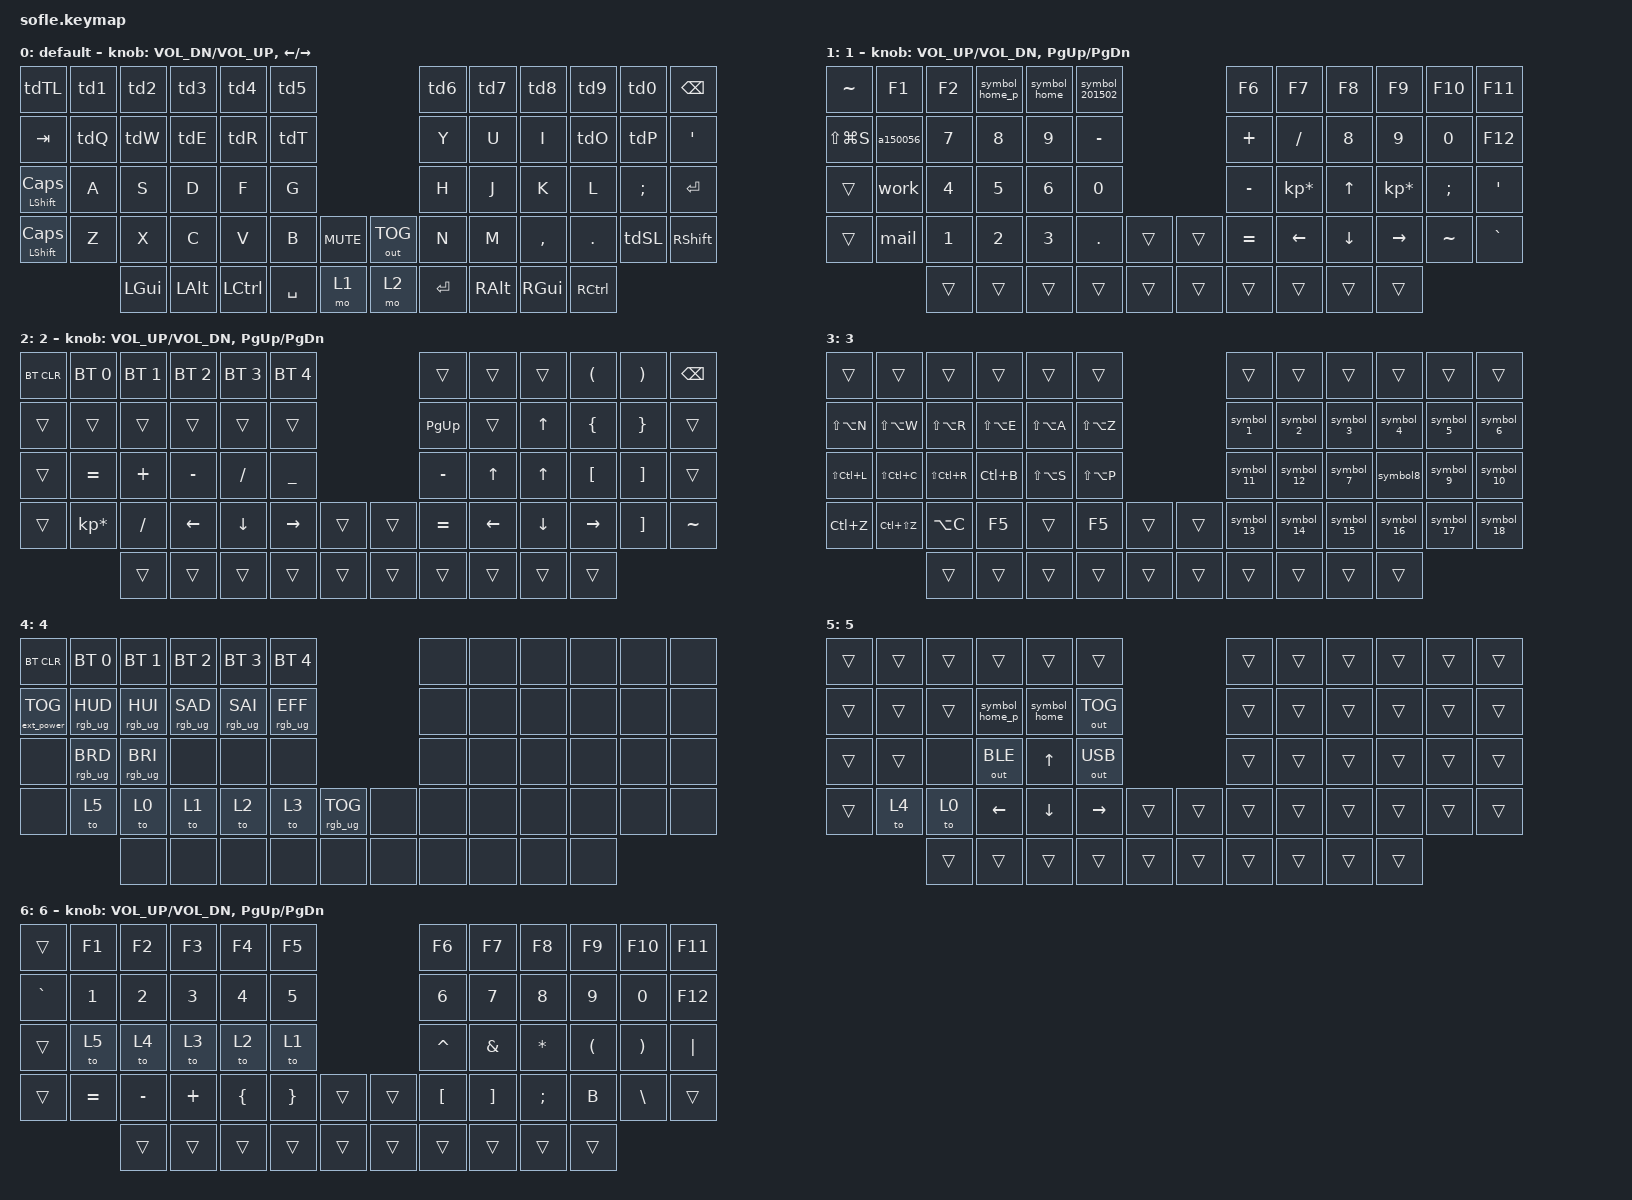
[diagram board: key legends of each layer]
/*
 * Copyright (c) 2020 The ZMK Contributors
 *
 * SPDX-License-Identifier: MIT
 */

#include <behaviors.dtsi>
#include <dt-bindings/zmk/bt.h>
#include <dt-bindings/zmk/ext_power.h>
#include <dt-bindings/zmk/keys.h>
#include <dt-bindings/zmk/outputs.h>
#include <dt-bindings/zmk/rgb.h>

#define BASE 0
#define LOWER 1
#define RAISE 2
#define ADJUST 3

/ {
    // Activate ADJUST layer by pressing raise and lower

    conditional_layers { compatible = "zmk,conditional-layers"; };

    behaviors {
        tdQ: tap_dance_Q {
            compatible = "zmk,behavior-tap-dance";
            #binding-cells = <0>;
            tapping-term-ms = <180>;
            bindings = <&kp Q>, <&kp LS(Q)>;
        };

        tdW: tap_dance_W {
            compatible = "zmk,behavior-tap-dance";
            #binding-cells = <0>;
            tapping-term-ms = <180>;
            bindings = <&kp W>, <&kp LS(W)>;
        };

        tdE: tap_dance_E {
            compatible = "zmk,behavior-tap-dance";
            #binding-cells = <0>;
            tapping-term-ms = <180>;
            bindings = <&kp E>, <&kp LS(E)>;
        };

        tdR: tap_dance_R {
            compatible = "zmk,behavior-tap-dance";
            #binding-cells = <0>;
            tapping-term-ms = <180>;
            bindings = <&kp R>, <&kp LS(R)>;
        };

        tdT: tap_dance_T {
            compatible = "zmk,behavior-tap-dance";
            #binding-cells = <0>;
            tapping-term-ms = <180>;
            bindings = <&kp T>, <&kp LS(T)>;
        };

        tdO: tap_dance_O {
            compatible = "zmk,behavior-tap-dance";
            #binding-cells = <0>;
            tapping-term-ms = <180>;
            bindings = <&kp O>, <&kp LS(O)>;
        };

        tdP: tap_dance_P {
            compatible = "zmk,behavior-tap-dance";
            #binding-cells = <0>;
            tapping-term-ms = <180>;
            bindings = <&kp P>, <&kp LS(P)>;
        };

        tdSL: tap_dance_SL {
            compatible = "zmk,behavior-tap-dance";
            #binding-cells = <0>;
            tapping-term-ms = <180>;
            bindings = <&kp FSLH>, <&kp LS(FSLH)>;
        };

        td1: tap_dance_1 {
            compatible = "zmk,behavior-tap-dance";
            #binding-cells = <0>;
            tapping-term-ms = <180>;
            bindings = <&kp N1>, <&kp LS(N1)>;
        };

        td2: tap_dance_2 {
            compatible = "zmk,behavior-tap-dance";
            #binding-cells = <0>;
            tapping-term-ms = <180>;
            bindings = <&kp N2>, <&kp LS(N2)>;
        };

        td3: tap_dance_3 {
            compatible = "zmk,behavior-tap-dance";
            #binding-cells = <0>;
            tapping-term-ms = <180>;
            bindings = <&kp N3>, <&kp LS(N3)>;
        };

        td4: tap_dance_4 {
            compatible = "zmk,behavior-tap-dance";
            #binding-cells = <0>;
            tapping-term-ms = <180>;
            bindings = <&kp N4>, <&kp LS(N4)>;
        };

        td5: tap_dance_5 {
            compatible = "zmk,behavior-tap-dance";
            #binding-cells = <0>;
            tapping-term-ms = <180>;
            bindings = <&kp N5>, <&kp LS(N5)>;
        };

        td6: tap_dance_6 {
            compatible = "zmk,behavior-tap-dance";
            #binding-cells = <0>;
            tapping-term-ms = <180>;
            bindings = <&kp N6>, <&kp LS(N6)>;
        };

        td7: tap_dance_7 {
            compatible = "zmk,behavior-tap-dance";
            #binding-cells = <0>;
            tapping-term-ms = <180>;
            bindings = <&kp N7>, <&kp LS(N7)>;
        };

        td8: tap_dance_8 {
            compatible = "zmk,behavior-tap-dance";
            #binding-cells = <0>;
            tapping-term-ms = <180>;
            bindings = <&kp N8>, <&kp LS(N8)>;
        };

        td9: tap_dance_9 {
            compatible = "zmk,behavior-tap-dance";
            #binding-cells = <0>;
            tapping-term-ms = <180>;
            bindings = <&kp N9>, <&kp LS(N9)>;
        };

        td0: tap_dance_0 {
            compatible = "zmk,behavior-tap-dance";
            #binding-cells = <0>;
            tapping-term-ms = <180>;
            bindings = <&kp N0>, <&kp LS(N0)>;
        };

        tdTL: tap_dance_gl {
            compatible = "zmk,behavior-tap-dance";
            #binding-cells = <0>;
            tapping-term-ms = <180>;
            bindings = <&kp ESCAPE>, <&kp TILDE>;
        };
    };

    combos {
        compatible = "zmk,combos";

        combo3 {
            bindings = <&to 6>;
            key-positions = <53 54>;
        };

        layer_2 {
            bindings = <&to 2>;
            key-positions = <53 52>;
        };

        layer_3 {
            bindings = <&to 3>;
            key-positions = <52 54>;
        };

        default {
            bindings = <&to 0>;
            key-positions = <53 54 52>;
        };

        layer_4 {
            bindings = <&to 2>;
            key-positions = <55 56>;
        };

        layer_5 {
            bindings = <&to 5>;
            key-positions = <56 57>;
        };

        layer_66 {
            bindings = <&to 6>;
            key-positions = <57 55>;
        };

        layer_0 {
            bindings = <&to 0>;
            key-positions = <55 56 57>;
        };
    };

    macros {
        symbol_1: symbol_1 {
            compatible = "zmk,behavior-macro";
            #binding-cells = <0>;
            bindings =
                <&kp N2 &kp N6 &kp N0 &kp N5 &kp LA(LS(F10))>,
                <&macro_wait_time 30>;

            label = "SYMBOL_1";
        };

        symbol_2: symbol_2 {
            compatible = "zmk,behavior-macro";
            #binding-cells = <0>;
            bindings =
                <&kp N2 &kp N6 &kp NUMBER_0 &kp NUMBER_6 &sk LS(LA(F10))>,
                <&macro_wait_time 30>;

            label = "SYMBOL_2";
        };

        symbol_3: symbol_3 {
            compatible = "zmk,behavior-macro";
            #binding-cells = <0>;
            bindings =
                <&kp N2 &kp N7 &kp N8 &kp N0 &kp LS(LA(F10))>,
                <&macro_wait_time 30>;

            label = "SYMBOL_3";
        };

        symbol_4: symbol_4 {
            compatible = "zmk,behavior-macro";
            #binding-cells = <0>;
            bindings =
                <&kp N2 &kp N7 &kp N8 &kp NUMBER_1 &kp LS(LA(F10))>,
                <&macro_wait_time 30>;

            label = "SYMBOL_4";
        };

        symbol_5: symbol_5 {
            compatible = "zmk,behavior-macro";
            #binding-cells = <0>;
            bindings =
                <&kp N2 &kp N7 &kp N8 &kp NUMBER_2 &kp LA(LS(F10))>,
                <&macro_wait_time 30>;

            label = "SYMBOL_5";
        };

        symbol_6: symbol_6 {
            compatible = "zmk,behavior-macro";
            #binding-cells = <0>;
            bindings =
                <&kp N2 &kp N7 &kp N8 &kp NUMBER_3 &kp LA(LS(F10))>,
                <&macro_wait_time 30>;

            label = "SYMBOL_6";
        };

        symbol_7: symbol_7 {
            compatible = "zmk,behavior-macro";
            #binding-cells = <0>;
            bindings =
                <&kp N2 &kp N7 &kp N7 &kp NUMBER_6 &kp LA(LS(F10))>,
                <&macro_wait_time 30>;

            label = "SYMBOL_7";
        };

        symbol_9: symbol_8 {
            compatible = "zmk,behavior-macro";
            #binding-cells = <0>;
            bindings =
                <&kp N2 &kp N7 &kp N7 &kp N8 &kp LA(LS(F10))>,
                <&macro_wait_time 30>;

            label = "SYMBOL_8";
        };

        symbol_10: symbol_9 {
            compatible = "zmk,behavior-macro";
            #binding-cells = <0>;
            bindings =
                <&kp N2 &kp N7 &kp N7 &kp N9 &kp LA(LS(F10))>,
                <&macro_wait_time 30>;

            label = "SYMBOL_9";
        };

        symbol_11: symbol_11 {
            compatible = "zmk,behavior-macro";
            #binding-cells = <0>;
            bindings =
                <&kp N2 &kp NUMBER_2 &kp NUMBER_1 &kp N9 &kp LA(LS(F10))>,
                <&macro_wait_time 30>;

            label = "SYMBOL_11";
        };

        symbol_12: symbol_12 {
            compatible = "zmk,behavior-macro";
            #binding-cells = <0>;
            bindings =
                <&kp N2 &kp NUMBER_0 &kp NUMBER_3 &kp B &kp LA(LS(F10))>,
                <&macro_wait_time 30>;

            label = "SYMBOL_12";
        };

        symbol_13: symbol_13 {
            compatible = "zmk,behavior-macro";
            #binding-cells = <0>;
            bindings =
                <&kp N2 &kp N7 &kp N3 &kp N1 &kp LA(LS(F10))>,
                <&macro_wait_time 30>;

            label = "SYMBOL_13";
        };

        symbol_14: symbol_14 {
            compatible = "zmk,behavior-macro";
            #binding-cells = <0>;
            bindings =
                <&kp N1 &kp F &kp N7 &kp B &kp N9 &kp LA(LS(F10))>,
                <&macro_wait_time 30>;

            label = "SYMBOL_14";
        };

        symbol_15: symbol_15 {
            compatible = "zmk,behavior-macro";
            #binding-cells = <0>;
            bindings =
                <&kp NUMBER_3 &kp NUMBER_0 &kp NUMBER_0 &kp E &kp LA(LS(F10))>,
                <&macro_wait_time 30>;

            label = "SYMBOL_15";
        };

        symbol_16: symbol_16 {
            compatible = "zmk,behavior-macro";
            #binding-cells = <0>;
            bindings =
                <&kp NUMBER_3 &kp NUMBER_0 &kp NUMBER_0 &kp F &kp LA(LS(F10))>,
                <&macro_wait_time 30>;

            label = "SYMBOL_16";
        };

        symbol_17: symbol_17 {
            compatible = "zmk,behavior-macro";
            #binding-cells = <0>;
            bindings =
                <&kp NUMBER_3 &kp NUMBER_0 &kp NUMBER_1 &kp NUMBER_0 &kp LA(LS(F10))>,
                <&macro_wait_time 30>;

            label = "SYMBOL_17";
        };

        symbol_18: symbol_18 {
            compatible = "zmk,behavior-macro";
            #binding-cells = <0>;
            bindings =
                <&kp NUMBER_3 &kp NUMBER_0 &kp NUMBER_1 &kp NUMBER_1 &kp LA(LS(F10))>,
                <&macro_wait_time 30>;

            label = "SYMBOL_18";
        };

        symbol8: symbol8 {
            compatible = "zmk,behavior-macro";
            #binding-cells = <0>;
            bindings =
                <&kp N2 &kp N7 &kp N7 &kp NUMBER_7 &kp LA(LS(F10))>,
                <&macro_wait_time 30>;

            label = "SYMBOL8";
        };

        symbol_201502: symbol_201502 {
            compatible = "zmk,behavior-macro";
            #binding-cells = <0>;
            bindings =
                <&kp N2 &kp N0 &kp N1 &kp N5 &kp N0 &kp N2>,
                <&macro_wait_time 30>;

            label = "SYMBOL_201502";
        };

        symbol_home: symbol_home {
            compatible = "zmk,behavior-macro";
            #binding-cells = <0>;
            bindings =
                <&kp LS(D) &kp LS(L) &kp LS(G) &kp LS(U) &kp LS(S) &kp D &kp I &kp D &kp N5 &kp N6>,
                <&macro_wait_time 30>,
                <&to 0>,
                <&macro_wait_time 30>;

            label = "SYMBOL_HOME";
        };

        mail: mail {
            compatible = "zmk,behavior-macro";
            #binding-cells = <0>;
            bindings =
                <&kp H &kp Y &kp U &kp N &kp S &kp O &kp O &kp N5 &kp N6 &kp AT &kp M &kp E &kp DOT &kp C &kp O &kp M>,
                <&macro_wait_time 30>;

            label = "MAIL";
        };

        a150056: a150056 {
            compatible = "zmk,behavior-macro";
            #binding-cells = <0>;
            bindings =
                <&kp N1 &kp N5 &kp N0 &kp N0 &kp N5 &kp N6>,
                <&macro_wait_time 30>;

            label = "A150056";
        };

        work: work {
            compatible = "zmk,behavior-macro";
            #binding-cells = <0>;
            bindings =
                <&kp GRAVE &kp N1 &kp N2 &kp Q &kp W &kp E &kp A &kp S &kp D>,
                <&macro_wait_time 30>;

            label = "WORK";
        };

        symbol_home_p: symbol_home_p {
            compatible = "zmk,behavior-macro";
            #binding-cells = <0>;
            bindings =
                <&kp LS(D) &kp LS(L) &kp LS(G) &kp LS(U) &kp LS(S) &kp D &kp I &kp D &kp N5 &kp N6 &kp CARET>,
                <&macro_wait_time 30>,
                <&to 0>,
                <&macro_wait_time 30>;

            label = "SYMBOL_HOME_P";
        };
    };

    keymap {
        compatible = "zmk,keymap";

        default_layer {
            display-name = "default";

            // ------------------------------------------------------------------------------------------------------------
            // |   `   |  1  |  2  |  3   |  4   |  5   |                   |  6   |  7    |  8    |  9   |   0   |       |
            // |  ESC  |  Q  |  W  |  E   |  R   |  T   |                   |  Y   |  U    |  I    |  O   |   P   | BKSPC |
            // |  TAB  |  A  |  S  |  D   |  F   |  G   |                   |  H   |  J    |  K    |  L   |   ;   |   '   |
            // | SHIFT |  Z  |  X  |  C   |  V   |  B   |  MUTE  |  |       |  N   |  M    |  ,    |  .   |   /   | SHIFT |
            //               | GUI | ALT  | CTRL | LOWER|  ENTER |  | SPACE | RAISE| CTRL  | ALT   | GUI  |

            bindings = <
&tdTL                    &td1   &td2      &td3      &td4       &td5                                   &td6       &td7      &td8       &td9       &td0      &kp BACKSPACE
&kp TAB                  &tdQ   &tdW      &tdE      &tdR       &tdT                                   &kp Y      &kp U     &kp I      &tdO       &tdP      &kp APOSTROPHE
&mt LEFT_SHIFT CAPS      &kp A  &kp S     &kp D     &kp F      &kp G                                  &kp H      &kp J     &kp K      &kp L      &kp SEMI  &kp ENTER
&mt LEFT_SHIFT CAPSLOCK  &kp Z  &kp X     &kp C     &kp V      &kp B      &kp C_MUTE    &out OUT_TOG  &kp N      &kp M     &kp COMMA  &kp DOT    &tdSL     &kp RSHFT
                                &kp LGUI  &kp LALT  &kp LCTRL  &kp SPACE  &mo 1         &mo 2         &kp ENTER  &kp RALT  &kp RGUI   &kp RCTRL
            >;

            sensor-bindings =
                <&inc_dec_kp C_VOL_DN C_VOL_UP>,
                <&inc_dec_kp LEFT_ARROW RIGHT_ARROW>;
        };

        layer_1 {
            display-name = "1";

            // TODO: Some binds are waiting for shifted keycode support.
            // ------------------------------------------------------------------------------------------------------------
            // |       |  F1 |  F2 |  F3  |  F4  |  F5  |                   |  F6  |  F7   |  F8   |  F9  |  F10  |  F11  |
            // |   `   |  1  |  2  |  3   |  4   |  5   |                   |  6   |  7    |  8    |  9   |   0   |  F12  |
            // |       |  !  |  @  |  #   |  $   |  %   |                   |  ^   |  &    |  *    |  (   |   )   |   |   |
            // |       |  =  |  -  |  +   |  {   |  }   |        |  |       |  [   |  ]    |  ;    |  :   |   \   |       |
            //               |     |      |      |      |        |  |       |      |       |       |      |

            bindings = <
&kp TILDE      &kp F1    &kp F2        &symbol_home_p  &symbol_home  &symbol_201502                    &kp F6     &kp F7           &kp F8          &kp F9           &kp F10    &kp F11
&kp LS(LG(S))  &a150056  &kp N7        &kp NUMBER_8    &kp NUMBER_9  &kp MINUS                         &kp PLUS   &kp SLASH        &kp N8          &kp N9           &kp N0     &kp F12
&trans         &work     &kp NUMBER_4  &kp N5          &kp NUMBER_6  &kp NUMBER_0                      &kp MINUS  &kp KP_MULTIPLY  &kp UP_ARROW    &kp KP_MULTIPLY  &kp SEMI   &kp APOS
&trans         &mail     &kp NUMBER_1  &kp NUMBER_2    &kp NUMBER_3  &kp PERIOD      &trans    &trans  &kp EQUAL  &kp LEFT_ARROW   &kp DOWN_ARROW  &kp RIGHT_ARROW  &kp TILDE  &kp GRAVE
                         &trans        &trans          &trans        &trans          &trans    &trans  &trans     &trans           &trans          &trans
            >;

            sensor-bindings = <&inc_dec_kp C_VOL_UP C_VOL_DN &inc_dec_kp PG_UP PG_DN>;
        };

        layer_2 {
            display-name = "2";

            // ------------------------------------------------------------------------------------------------------------
            // | BTCLR | BT1  | BT2  |  BT3  |  BT4  |  BT5 |                |      |      |       |      |       |       |
            // |       | INS  | PSCR | GUI   |       |      |                | PGUP |      |   ^   |      |       |       |
            // |       | ALT  | CTRL | SHIFT |       | CAPS |                | PGDN |   <- |   v   |  ->  |  DEL  | BKSPC |
            // |       | UNDO | CUT  | COPY  | PASTE |      |      |  |      |      |      |       |      |       |       |
            //                |      |       |       |      |      |  |      |      |      |       |      |

            bindings = <
&bt BT_CLR  &bt BT_SEL 0     &bt BT_SEL 1  &bt BT_SEL 2    &bt BT_SEL 3    &bt BT_SEL 4                       &trans     &trans          &trans          &kp LEFT_PARENTHESIS  &kp RIGHT_PARENTHESIS  &kp BACKSPACE
&trans      &trans           &trans        &trans          &trans          &trans                             &kp PG_UP  &trans          &kp UP          &kp LEFT_BRACE        &kp RIGHT_BRACE        &trans
&trans      &kp EQUAL        &kp PLUS      &kp MINUS       &kp SLASH       &kp UNDER                          &kp MINUS  &kp UP_ARROW    &kp UP_ARROW    &kp LEFT_BRACKET      &kp RIGHT_BRACKET      &trans
&trans      &kp KP_MULTIPLY  &kp SLASH     &kp LEFT_ARROW  &kp DOWN_ARROW  &kp RIGHT_ARROW  &trans    &trans  &kp EQUAL  &kp LEFT_ARROW  &kp DOWN_ARROW  &kp RIGHT_ARROW       &kp RIGHT_BRACKET      &kp TILDE
                             &trans        &trans          &trans          &trans           &trans    &trans  &trans     &trans          &trans          &trans
            >;

            sensor-bindings = <&inc_dec_kp C_VOL_UP C_VOL_DN &inc_dec_kp PG_UP PG_DN>;
        };

        layer_3 {
            bindings = <
&trans         &trans         &trans         &trans         &trans         &trans                           &trans      &trans      &trans      &trans      &trans      &trans
&kp LS(LA(N))  &kp LS(LA(W))  &kp LS(LA(R))  &kp LS(LA(E))  &kp LS(LA(A))  &kp LS(LA(Z))                    &symbol_1   &symbol_2   &symbol_3   &symbol_4   &symbol_5   &symbol_6
&kp LS(LC(L))  &kp LS(LC(C))  &kp LS(LC(R))  &kp LC(B)      &kp LS(LA(S))  &kp LS(LA(P))                    &symbol_11  &symbol_12  &symbol_7   &symbol8    &symbol_9   &symbol_10
&kp LC(Z)      &kp LC(LS(Z))  &kp LA(C)      &kp F5         &trans         &kp F5         &trans    &trans  &symbol_13  &symbol_14  &symbol_15  &symbol_16  &symbol_17  &symbol_18
                              &trans         &trans         &trans         &trans         &trans    &trans  &trans      &trans      &trans      &trans
            >;

            label = "3";
        };

        layer_4 {
            // ----------------------------------------------------------------------------------------------------------------------------
            // | BTCLR  |  BT1    |  BT2    |   BT3   |   BT4   |   BT5   |                  |      |      |       |      |       |       |
            // | EXTPWR | RGB_HUD | RGB_HUI | RGB_SAD | RGB_SAI | RGB_EFF |                  |      |      |       |      |       |       |
            // |        | RGB_BRD | RGB_BRI |         |         |         |                  |      |      |       |      |       |       |
            // |        |         |         |         |         |         | RGB_TOG | |      |      |      |       |      |       |       |
            //                    |         |         |         |         |         | |      |      |      |       |      |

            display-name = "4";
            bindings = <
&bt BT_CLR         &bt BT_SEL 0     &bt BT_SEL 1     &bt BT_SEL 2     &bt BT_SEL 3     &bt BT_SEL 4                               &none  &none  &none  &none  &none  &none
&ext_power EP_TOG  &rgb_ug RGB_HUD  &rgb_ug RGB_HUI  &rgb_ug RGB_SAD  &rgb_ug RGB_SAI  &rgb_ug RGB_EFF                            &none  &none  &none  &none  &none  &none
&none              &rgb_ug RGB_BRD  &rgb_ug RGB_BRI  &none            &none            &none                                      &none  &none  &none  &none  &none  &none
&none              &to 5            &to 0            &to 1            &to 2            &to 3            &rgb_ug RGB_TOG    &none  &none  &none  &none  &none  &none  &none
                                    &none            &none            &none            &none            &none              &none  &none  &none  &none  &none
            >;
        };

        layer_5 {
            bindings = <
&trans  &trans  &trans  &trans          &trans        &trans                          &trans  &trans  &trans  &trans  &trans  &trans
&trans  &trans  &trans  &symbol_home_p  &symbol_home  &out OUT_TOG                    &trans  &trans  &trans  &trans  &trans  &trans
&trans  &trans  &none   &out OUT_BLE    &kp UP        &out OUT_USB                    &trans  &trans  &trans  &trans  &trans  &trans
&trans  &to 4   &to 0   &kp LEFT        &kp DOWN      &kp RIGHT     &trans    &trans  &trans  &trans  &trans  &trans  &trans  &trans
                &trans  &trans          &trans        &trans        &trans    &trans  &trans  &trans  &trans  &trans
            >;

            label = "5";
        };

        layer_6 {
            display-name = "6";
            bindings = <
&trans     &kp F1     &kp F2     &kp F3    &kp F4    &kp F5                      &kp F6     &kp F7    &kp F8     &kp F9    &kp F10   &kp F11
&kp GRAVE  &kp N1     &kp N2     &kp N3    &kp N4    &kp N5                      &kp N6     &kp N7    &kp N8     &kp N9    &kp N0    &kp F12
&trans     &to 5      &to 4      &to 3     &to 2     &to 1                       &kp CARET  &kp AMPS  &kp ASTRK  &kp LPAR  &kp RPAR  &kp PIPE
&trans     &kp EQUAL  &kp MINUS  &kp PLUS  &kp LBRC  &kp RBRC  &trans    &trans  &kp LBKT   &kp RBKT  &kp SEMI   &kp B     &kp BSLH  &trans
                      &trans     &trans    &trans    &trans    &trans    &trans  &trans     &trans    &trans     &trans
            >;

            sensor-bindings =
                <&inc_dec_kp C_VOL_UP C_VOL_DN>,
                <&inc_dec_kp PG_UP PG_DN>;
        };
    };
};
